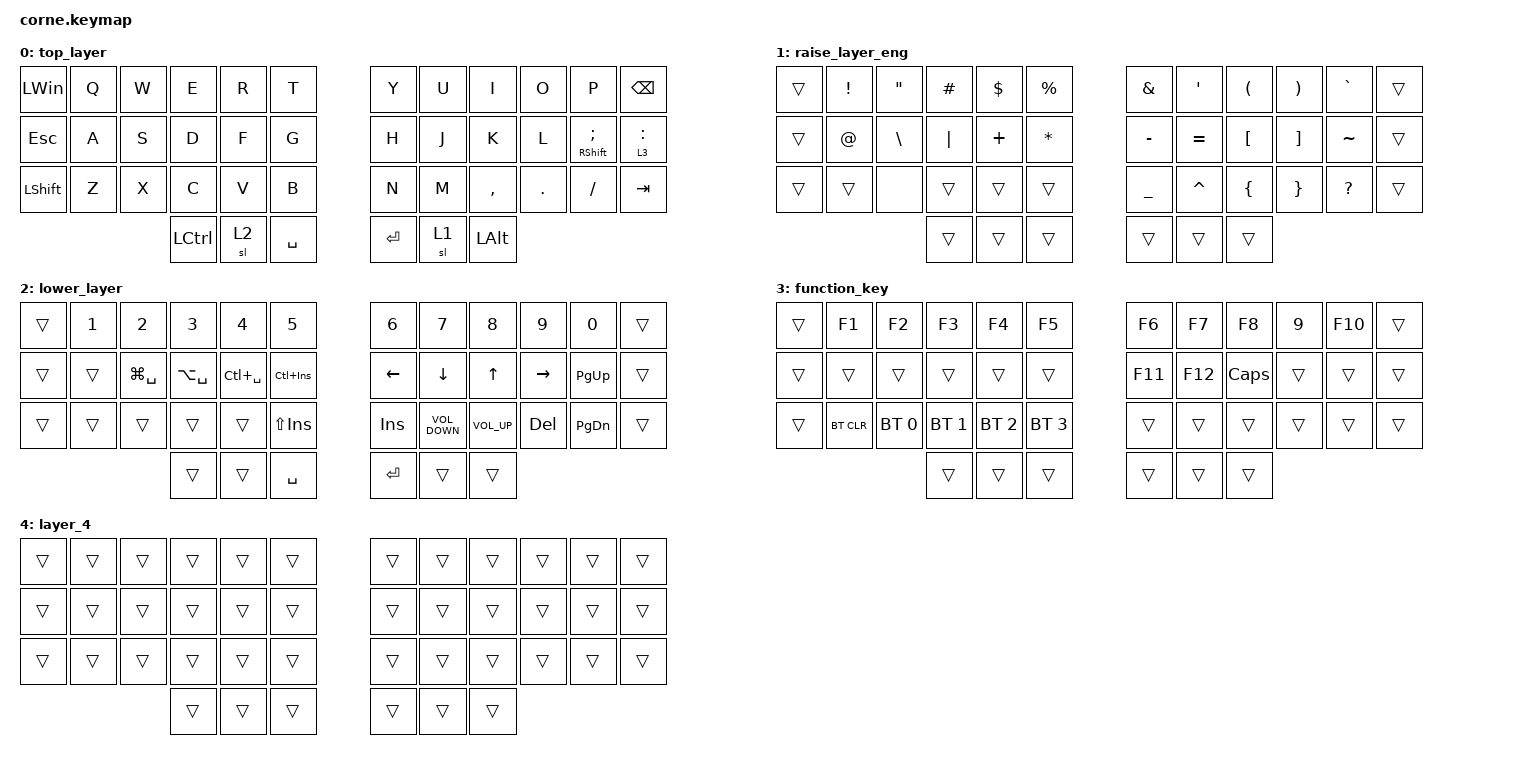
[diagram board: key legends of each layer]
/*
 * Copyright (c) 2020 The ZMK Contributors
 *
 * SPDX-License-Identifier: MIT
 */

#include <behaviors.dtsi>
#include <dt-bindings/zmk/bt.h>
#include <dt-bindings/zmk/keys.h>

/ {
    behaviors {
        LEFT_HRMs: LEFT_HRMs {
            compatible = "zmk,behavior-hold-tap";
            label = "LEFT_HRMS";
            bindings = <&kp>, <&kp>;

            #binding-cells = <2>;
            tapping-term-ms = <280>;
            quick-tap-ms = <100>;
            flavor = "hold-preferred";
            hold-trigger-key-positions = <0 1 2 3 4 5 12 13 14 15 16 17 24 25 26 27 28 29 36 37 38 41 39>;
            require-prior-idle-ms = <10>;
            hold-trigger-on-release;
        };

        LAYER_HRM: LAYER_HRM {
            compatible = "zmk,behavior-hold-tap";
            label = "LAYER_HRM";
            bindings = <&mo>, <&kp>;

            #binding-cells = <2>;
            tapping-term-ms = <280>;
            quick-tap-ms = <175>;
            require-prior-idle-ms = <150>;
            flavor = "balanced";
            hold-trigger-on-release;
        };
    };

    keymap {
        compatible = "zmk,keymap";

        top_layer {
            // -----------------------------------------------------------------------------------------
            // |  TAB |  Q  |  W  |  E  |  R  |  T  |   |  Y  |  U   |  I  |  O  |  P  | BKSP |
            // | CTRL |  A  |  S  |  D  |  F  |  G  |   |  H  |  J   |  K  |  L  |  ;  |  '   |
            // | SHFT |  Z  |  X  |  C  |  V  |  B  |   |  N  |  M   |  ,  |  .  |  /  | ESC  |
            //                    | GUI | LWR | SPC |   | ENT | RSE  | ALT |

            bindings = <
&kp LEFT_WIN    &kp Q  &kp W  &kp E             &kp R  &kp T        &kp Y    &kp U  &kp I         &kp O    &kp P                        &kp BSPC
&kp ESC         &kp A  &kp S  &kp D             &kp F  &kp G        &kp H    &kp J  &kp K         &kp L    &LEFT_HRMs RIGHT_SHIFT SEMI  &LAYER_HRM 3 COLON
&kp LEFT_SHIFT  &kp Z  &kp X  &kp C             &kp V  &kp B        &kp N    &kp M  &kp COMMA     &kp DOT  &kp FSLH                     &kp TAB
                              &kp LEFT_CONTROL  &sl 2  &kp SPACE    &kp RET  &sl 1  &kp LEFT_ALT
            >;
        };

        raise_layer_eng {
            bindings = <
&trans  &kp EXCLAMATION  &kp DOUBLE_QUOTES  &kp HASH  &kp DOLLAR  &kp PERCENT     &kp AMPERSAND   &kp SINGLE_QUOTE  &kp LEFT_PARENTHESIS  &kp RIGHT_PARENTHESIS  &kp GRAVE     &trans
&trans  &kp AT_SIGN      &kp BACKSLASH      &kp PIPE  &kp PLUS    &kp ASTERISK    &kp MINUS       &kp EQUAL         &kp LEFT_BRACKET      &kp RIGHT_BRACKET      &kp TILDE     &trans
&trans  &trans           &none              &trans    &trans      &trans          &kp UNDERSCORE  &kp CARET         &kp LEFT_BRACE        &kp RIGHT_BRACE        &kp QUESTION  &trans
                                            &trans    &trans      &trans          &trans          &trans            &trans
            >;
        };

        lower_layer {
            // -----------------------------------------------------------------------------------------
            // |  TAB |  1  |  2  |  3  |  4  |  5  |   |  6  |  7  |  8  |  9  |  0  | BKSP |
            // | BTCLR| BT1 | BT2 | BT3 | BT4 | BT5 |   | LFT | DWN |  UP | RGT |     |      |
            // | SHFT |     |     |     |     |     |   |     |     |     |     |     |      |
            //                    | GUI |     | SPC |   | ENT |     | ALT |

            bindings = <
&trans  &kp N1  &kp N2         &kp N3         &kp N4         &kp N5            &kp N6      &kp N7             &kp N8        &kp N9      &kp N0         &trans
&trans  &trans  &kp LG(SPACE)  &kp LA(SPACE)  &kp LC(SPACE)  &kp LC(INSERT)    &kp LEFT    &kp DOWN_ARROW     &kp UP_ARROW  &kp RIGHT   &kp PAGE_UP    &trans
&trans  &trans  &trans         &trans         &trans         &kp LS(INS)       &kp INSERT  &kp C_VOLUME_DOWN  &kp C_VOL_UP  &kp DELETE  &kp PAGE_DOWN  &trans
                               &trans         &trans         &kp SPACE         &kp RET     &trans             &trans
            >;
        };

        function_key {
            bindings = <
&trans  &kp F1      &kp F2        &kp F3        &kp F4        &kp F5          &kp F6   &kp F7   &kp F8    &kp N9  &kp F10  &trans
&trans  &trans      &trans        &trans        &trans        &trans          &kp F11  &kp F12  &kp CAPS  &trans  &trans   &trans
&trans  &bt BT_CLR  &bt BT_SEL 0  &bt BT_SEL 1  &bt BT_SEL 2  &bt BT_SEL 3    &trans   &trans   &trans    &trans  &trans   &trans
                                  &trans        &trans        &trans          &trans   &trans   &trans
            >;
        };

        layer_4 {
            bindings = <
&trans  &trans  &trans  &trans  &trans  &trans    &trans  &trans  &trans  &trans  &trans  &trans
&trans  &trans  &trans  &trans  &trans  &trans    &trans  &trans  &trans  &trans  &trans  &trans
&trans  &trans  &trans  &trans  &trans  &trans    &trans  &trans  &trans  &trans  &trans  &trans
                        &trans  &trans  &trans    &trans  &trans  &trans
            >;
        };
    };
};
